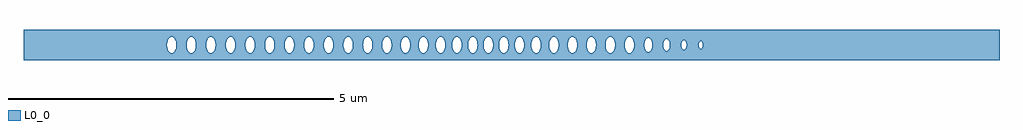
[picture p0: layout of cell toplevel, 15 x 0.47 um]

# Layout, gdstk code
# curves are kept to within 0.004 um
import gdstk
lib = gdstk.Library(unit=1e-6, precision=1e-09)
def P(c, l, *ps):  # polygons
    for p in ps: c.add(gdstk.Polygon(p, *l))
L0_0 = (0, 0)

toplevel = lib.new_cell('toplevel')
P(toplevel, L0_0, [(-4.615,-0.234),(-4.615,-0.127),(-4.646,-0.119),(-4.666,-0.098),(-4.681,-0.068),(-4.692,-0.008),(-4.689,0.039),(-4.669,0.093),(-4.646,0.119),(-4.615,0.127),(-4.615,0.234),(-7.5,0.234),(-7.5,-0.008),(-5.295,-0.008),(-5.29,0.047),(-5.272,0.093),(-5.249,0.119),(-5.222,0.128),(-5.187,0.112),(-5.164,0.075),(-5.152,0.032),(-5.151,-0.016),(-4.993,-0.016),(-4.991,0.032),(-4.98,0.075),(-4.956,0.112),(-4.921,0.128),(-4.894,0.119),(-4.871,0.093),(-4.855,0.054),(-4.849,0.016),(-4.851,-0.032),(-4.862,-0.075),(-4.886,-0.112),(-4.921,-0.128),(-4.948,-0.119),(-4.971,-0.093),(-4.987,-0.054),(-4.993,-0.016),(-5.151,-0.016),(-5.161,-0.068),(-5.176,-0.098),(-5.196,-0.119),(-5.222,-0.128),(-5.249,-0.119),(-5.269,-0.098),(-5.286,-0.061),(-5.295,-0.008),(-7.5,-0.008),(-7.5,-0.234)],
  [(2.333,0.023),(2.337,0.045),(2.355,0.079),(2.37,0.091),(2.386,0.094),(2.405,0.085),(2.423,0.06),(2.433,0.029),(2.435,-0.005),(2.608,-0.005),(2.61,0.024),(2.621,0.056),(2.647,0.077),(2.668,0.07),(2.681,0.053),(2.692,0),(2.877,0),(2.887,0.044),(2.897,0.056),(2.913,0.06),(2.935,0.035),(2.941,-0.004),(2.928,-0.049),(2.905,-0.06),(2.887,-0.044),(2.877,0),(2.692,0),(2.681,-0.053),(2.668,-0.07),(2.653,-0.077),(2.632,-0.07),(2.621,-0.056),(2.608,-0.005),(2.435,-0.005),(2.429,-0.045),(2.419,-0.068),(2.405,-0.085),(2.386,-0.094),(2.37,-0.091),(2.347,-0.068),(2.332,-0.019),(2.332,-0.234),(7.5,-0.234),(7.5,0.234),(2.332,0.234)],
  [(-4.551,-0.039),(-4.573,-0.098),(-4.593,-0.119),(-4.615,-0.127),(-4.615,-0.234),(-4.269,-0.234),(-4.269,-0.093),(-4.283,-0.112),(-4.305,-0.125),(-4.318,-0.128),(-4.345,-0.119),(-4.377,-0.075),(-4.391,-0.008),(-4.386,0.047),(-4.377,0.075),(-4.345,0.119),(-4.318,0.128),(-4.305,0.125),(-4.283,0.112),(-4.269,0.093),(-4.269,0.234),(-4.615,0.234),(-4.615,0.127),(-4.585,0.112),(-4.561,0.075),(-4.547,0.008)],
  [(-4.249,-0.039),(-4.269,-0.093),(-4.269,-0.234),(-3.786,-0.234),(-3.786,0.234),(-4.269,0.234),(-4.269,0.093),(-4.249,0.039),(-4.246,-0.016),(-4.089,-0.016),(-4.087,0.032),(-4.076,0.075),(-4.052,0.112),(-4.017,0.128),(-3.99,0.119),(-3.967,0.093),(-3.953,0.061),(-3.945,0.016),(-3.945,-0.019),(-3.958,-0.075),(-3.982,-0.112),(-4.017,-0.128),(-4.044,-0.119),(-4.063,-0.098),(-4.076,-0.075),(-4.089,-0.016),(-4.246,-0.016)],
  [(-3.644,-0.016),(-3.654,-0.068),(-3.669,-0.098),(-3.689,-0.119),(-3.716,-0.128),(-3.742,-0.119),(-3.762,-0.098),(-3.786,-0.033),(-3.786,-0.234),(-3.445,-0.234),(-3.445,-0.115),(-3.473,-0.075),(-3.487,0),(-3.473,0.075),(-3.445,0.115),(-3.445,0.234),(-3.786,0.234),(-3.786,0.032),(-3.777,0.068),(-3.754,0.108),(-3.729,0.125),(-3.702,0.125),(-3.677,0.108),(-3.654,0.068),(-3.644,0.024)],
  [(-3.437,0.121),(-3.414,0.128),(-3.401,0.125),(-3.368,0.098),(-3.345,0.039),(-3.342,-0.016),(-3.358,-0.081),(-3.379,-0.112),(-3.414,-0.128),(-3.445,-0.115),(-3.445,-0.234),(-3.108,-0.234),(-3.108,-0.127),(-3.14,-0.119),(-3.159,-0.098),(-3.174,-0.068),(-3.185,-0.016),(-3.182,0.039),(-3.166,0.087),(-3.14,0.119),(-3.108,0.127),(-3.108,0.234),(-3.445,0.234),(-3.445,0.115)],
  [(-3.043,-0.032),(-3.063,-0.093),(-3.086,-0.119),(-3.108,-0.127),(-3.108,-0.234),(-2.762,-0.234),(-2.762,-0.093),(-2.777,-0.112),(-2.798,-0.125),(-2.811,-0.128),(-2.838,-0.119),(-2.858,-0.098),(-2.873,-0.068),(-2.884,-0.008),(-2.873,0.068),(-2.858,0.098),(-2.838,0.119),(-2.811,0.128),(-2.798,0.125),(-2.777,0.112),(-2.762,0.093),(-2.762,0.234),(-3.108,0.234),(-3.108,0.127),(-3.078,0.112),(-3.054,0.075),(-3.041,0.016)],
  [(-2.441,-0.039),(-2.454,-0.081),(-2.471,-0.108),(-2.497,-0.125),(-2.524,-0.125),(-2.549,-0.108),(-2.569,-0.075),(-2.583,0),(-2.569,0.075),(-2.549,0.108),(-2.524,0.125),(-2.497,0.125),(-2.471,0.108),(-2.454,0.081),(-2.441,0.039),(-2.441,0.234),(-2.762,0.234),(-2.762,0.093),(-2.744,0.047),(-2.739,0.008),(-2.744,-0.047),(-2.762,-0.093),(-2.762,-0.234),(-2.441,-0.234)],
  [(-1.988,0),(-1.987,0.234),(-2.441,0.234),(-2.438,0),(-2.283,0),(-2.276,0.054),(-2.26,0.093),(-2.237,0.119),(-2.21,0.128),(-2.184,0.119),(-2.164,0.098),(-2.149,0.068),(-2.138,0.016),(-2.141,-0.039),(-2.154,-0.081),(-2.175,-0.112),(-2.21,-0.128),(-2.237,-0.119),(-2.26,-0.093),(-2.276,-0.054),(-2.283,0),(-2.438,0),(-2.441,-0.234),(-1.987,-0.234)],
  [(-1.984,0.039),(-1.974,0.075),(-1.954,0.108),(-1.929,0.125),(-1.902,0.125),(-1.876,0.108),(-1.859,0.081),(-1.846,0.039),(-1.843,-0.016),(-1.854,-0.068),(-1.869,-0.098),(-1.889,-0.119),(-1.915,-0.128),(-1.942,-0.119),(-1.965,-0.093),(-1.979,-0.061),(-1.987,-0.016),(-1.987,-0.234),(-1.672,-0.234),(-1.672,-0.103),(-1.688,-0.075),(-1.701,-0.016),(-1.695,0.054),(-1.672,0.103),(-1.672,0.234),(-1.987,0.234)],
  [(-1.56,-0.039),(-1.579,-0.093),(-1.602,-0.119),(-1.629,-0.128),(-1.643,-0.125),(-1.672,-0.103),(-1.672,-0.234),(-1.349,-0.234),(-1.349,-0.127),(-1.38,-0.119),(-1.4,-0.098),(-1.415,-0.068),(-1.426,-0.016),(-1.423,0.039),(-1.407,0.087),(-1.38,0.119),(-1.349,0.127),(-1.349,0.234),(-1.672,0.234),(-1.672,0.103),(-1.656,0.119),(-1.629,0.128),(-1.602,0.119),(-1.586,0.103),(-1.57,0.075),(-1.56,0.039)],
  [(-1.044,-0.098),(-1.077,-0.125),(-1.09,-0.128),(-1.117,-0.119),(-1.137,-0.098),(-1.152,-0.068),(-1.163,-0.008),(-1.152,0.068),(-1.125,0.112),(-1.09,0.128),(-1.064,0.119),(-1.044,0.098),(-1.044,0.234),(-1.349,0.234),(-1.349,0.127),(-1.327,0.119),(-1.304,0.093),(-1.286,0.047),(-1.281,0),(-1.286,-0.047),(-1.304,-0.093),(-1.327,-0.119),(-1.349,-0.127),(-1.349,-0.234),(-1.044,-0.234)],
  [(-0.667,-0.008),(-0.666,0.234),(-1.044,0.234),(-1.044,0.098),(-1.023,0.047),(-1.019,-0.016),(-0.91,-0.016),(-0.908,0.032),(-0.897,0.075),(-0.873,0.112),(-0.838,0.128),(-0.811,0.119),(-0.788,0.093),(-0.766,0.016),(-0.768,-0.032),(-0.779,-0.075),(-0.803,-0.112),(-0.838,-0.128),(-0.865,-0.119),(-0.888,-0.093),(-0.904,-0.054),(-0.91,-0.016),(-1.019,-0.016),(-1.029,-0.068),(-1.044,-0.098),(-1.044,-0.234),(-0.666,-0.234)],
  [(-0.663,0.039),(-0.653,0.075),(-0.633,0.108),(-0.608,0.125),(-0.581,0.125),(-0.556,0.108),(-0.536,0.075),(-0.524,0.032),(-0.522,-0.008),(-0.527,-0.047),(-0.545,-0.093),(-0.568,-0.119),(-0.594,-0.128),(-0.621,-0.119),(-0.641,-0.098),(-0.656,-0.068),(-0.666,-0.024),(-0.666,-0.234),(-0.387,-0.234),(-0.387,-0.115),(-0.412,-0.081),(-0.428,-0.016),(-0.426,0.032),(-0.417,0.068),(-0.387,0.115),(-0.387,0.234),(-0.666,0.234)],
  [(-0.286,-0.032),(-0.297,-0.075),(-0.329,-0.119),(-0.356,-0.128),(-0.387,-0.115),(-0.387,-0.234),(-0.114,-0.234),(-0.114,-0.127),(-0.145,-0.119),(-0.165,-0.098),(-0.18,-0.068),(-0.191,-0.008),(-0.186,0.047),(-0.168,0.093),(-0.145,0.119),(-0.114,0.127),(-0.114,0.234),(-0.387,0.234),(-0.387,0.115),(-0.365,0.126),(-0.342,0.125),(-0.321,0.112),(-0.306,0.093),(-0.287,0.039)],
  [(0.165,-0.103),(0.149,-0.119),(0.123,-0.128),(0.088,-0.112),(0.059,-0.061),(0.05,0),(0.059,0.061),(0.088,0.112),(0.123,0.128),(0.149,0.119),(0.165,0.103),(0.165,0.234),(-0.114,0.234),(-0.114,0.127),(-0.092,0.119),(-0.069,0.093),(-0.051,0.047),(-0.046,0.008),(-0.051,-0.047),(-0.069,-0.093),(-0.092,-0.119),(-0.114,-0.127),(-0.114,-0.234),(0.165,-0.234)],
  [(0.193,-0.032),(0.179,-0.081),(0.165,-0.103),(0.165,-0.234),(0.449,-0.234),(0.449,-0.024),(0.439,-0.068),(0.424,-0.098),(0.404,-0.119),(0.378,-0.128),(0.351,-0.119),(0.331,-0.098),(0.316,-0.068),(0.305,-0.008),(0.307,0.032),(0.319,0.075),(0.339,0.108),(0.364,0.125),(0.391,0.125),(0.416,0.108),(0.439,0.068),(0.449,0.024),(0.449,0.234),(0.165,0.234),(0.165,0.103),(0.179,0.081),(0.192,0.039)],
  [(0.867,-0.234),(0.867,0.234),(0.449,0.234),(0.45,0),(0.578,0),(0.585,0.054),(0.601,0.093),(0.624,0.119),(0.651,0.128),(0.677,0.119),(0.697,0.098),(0.712,0.068),(0.723,0.016),(0.72,-0.039),(0.707,-0.081),(0.686,-0.112),(0.651,-0.128),(0.624,-0.119),(0.601,-0.093),(0.585,-0.054),(0.578,0),(0.45,0),(0.449,-0.234)],
  [(1.008,-0.032),(0.984,-0.098),(0.964,-0.119),(0.937,-0.128),(0.911,-0.119),(0.891,-0.098),(0.867,-0.033),(0.867,-0.234),(1.202,-0.234),(1.202,-0.119),(1.172,-0.081),(1.156,-0.016),(1.158,0.032),(1.167,0.068),(1.182,0.098),(1.202,0.119),(1.202,0.234),(0.867,0.234),(0.867,0.032),(0.879,0.075),(0.903,0.112),(0.937,0.128),(0.96,0.121),(0.984,0.098),(0.999,0.068),(1.009,0.024)],
  [(1.215,0.125),(1.228,0.128),(1.255,0.119),(1.278,0.093),(1.296,0.047),(1.301,-0.008),(1.292,-0.061),(1.267,-0.108),(1.255,-0.119),(1.228,-0.128),(1.202,-0.119),(1.202,-0.234),(1.546,-0.234),(1.546,-0.119),(1.519,-0.128),(1.492,-0.119),(1.48,-0.108),(1.46,-0.075),(1.447,-0.016),(1.452,0.047),(1.46,0.075),(1.48,0.108),(1.492,0.119),(1.519,0.128),(1.546,0.119),(1.546,0.234),(1.202,0.234),(1.202,0.119)],
  [(1.589,-0.032),(1.578,-0.075),(1.546,-0.119),(1.546,-0.234),(1.862,-0.234),(1.862,-0.093),(1.848,-0.112),(1.826,-0.125),(1.813,-0.128),(1.786,-0.119),(1.754,-0.075),(1.74,0),(1.754,0.075),(1.786,0.119),(1.813,0.128),(1.826,0.125),(1.848,0.112),(1.862,0.093),(1.862,0.234),(1.546,0.234),(1.546,0.119),(1.569,0.093),(1.585,0.054),(1.591,0.016)],
  [(1.883,-0.032),(1.862,-0.093),(1.862,-0.234),(2.332,-0.234),(2.332,0.234),(1.862,0.234),(1.862,0.093),(1.882,0.039),(1.885,-0.014),(2.042,-0.014),(2.046,0.041),(2.056,0.071),(2.081,0.103),(2.104,0.111),(2.127,0.103),(2.147,0.081),(2.166,0.014),(2.162,-0.041),(2.152,-0.071),(2.131,-0.1),(2.112,-0.11),(2.081,-0.103),(2.061,-0.081),(2.042,-0.014),(1.885,-0.014)])

lib.write_gds('toplevel.gds')
